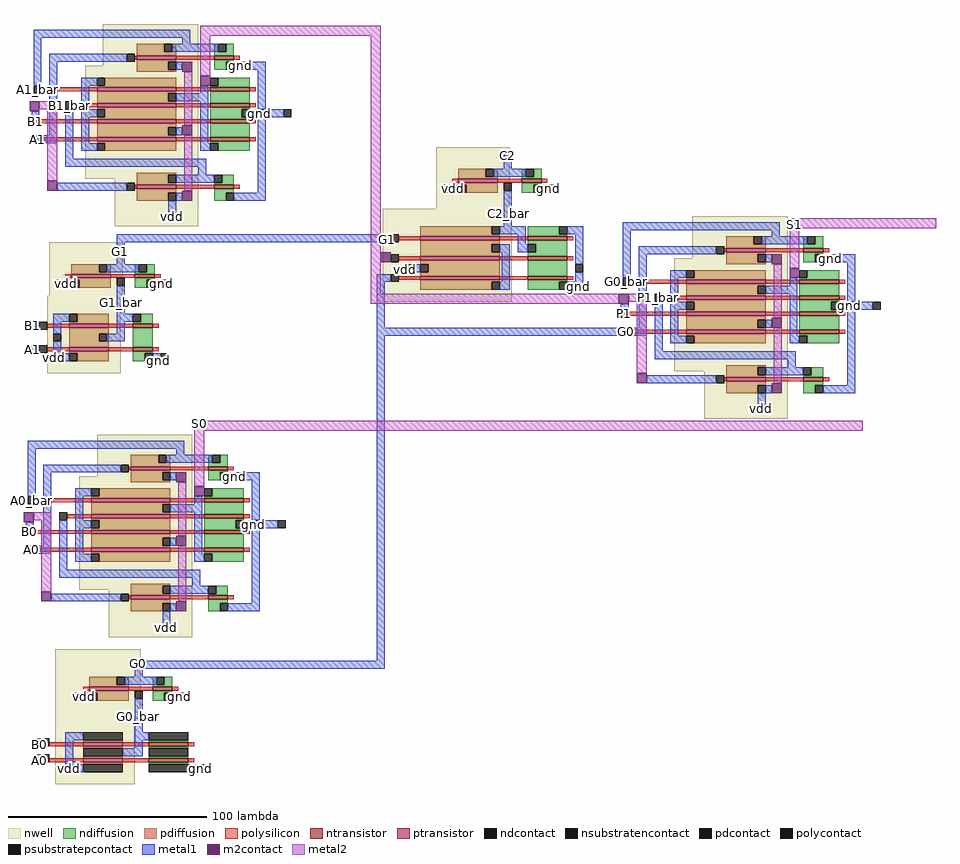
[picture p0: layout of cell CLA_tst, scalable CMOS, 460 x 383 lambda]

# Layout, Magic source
magic
tech scmos
<< nwell >>
rect 26 342 74 363
rect 17 285 74 342
rect 32 261 74 285
rect 194 270 231 301
rect 167 267 231 270
rect -1 226 36 253
rect -2 223 36 226
rect 167 223 232 267
rect 323 245 371 266
rect -2 187 35 223
rect 314 188 371 245
rect 329 164 371 188
rect 23 135 71 156
rect 14 78 71 135
rect 29 54 71 78
rect 2 13 45 48
rect 2 -20 42 13
<< ntransistor >>
rect 82 345 92 347
rect 80 329 100 331
rect 80 321 100 323
rect 80 313 100 315
rect 80 304 100 306
rect 237 283 247 285
rect 82 280 92 282
rect 240 254 260 256
rect 379 248 389 250
rect 240 244 260 246
rect 42 235 52 237
rect 240 234 260 236
rect 377 232 397 234
rect 377 224 397 226
rect 377 216 397 218
rect 41 210 51 212
rect 377 207 397 209
rect 41 198 51 200
rect 379 183 389 185
rect 79 138 89 140
rect 77 122 97 124
rect 77 114 97 116
rect 77 106 97 108
rect 77 97 97 99
rect 79 73 89 75
rect 51 27 61 29
rect 49 -1 69 1
rect 49 -9 69 -7
<< ptransistor >>
rect 43 345 63 347
rect 23 329 63 331
rect 23 321 63 323
rect 23 313 63 315
rect 23 304 63 306
rect 205 283 225 285
rect 43 280 63 282
rect 186 254 226 256
rect 340 248 360 250
rect 186 244 226 246
rect 10 235 30 237
rect 186 234 226 236
rect 320 232 360 234
rect 320 224 360 226
rect 320 216 360 218
rect 9 210 29 212
rect 320 207 360 209
rect 9 198 29 200
rect 340 183 360 185
rect 40 138 60 140
rect 20 122 60 124
rect 20 114 60 116
rect 20 106 60 108
rect 20 97 60 99
rect 40 73 60 75
rect 19 27 39 29
rect 16 -1 36 1
rect 16 -9 36 -7
<< ndiffusion >>
rect 82 349 84 353
rect 88 349 92 353
rect 82 347 92 349
rect 82 344 92 345
rect 82 340 88 344
rect 84 332 100 336
rect 80 331 100 332
rect 80 323 100 329
rect 80 320 100 321
rect 80 316 96 320
rect 80 315 100 316
rect 80 306 100 313
rect 80 303 100 304
rect 84 299 100 303
rect 86 283 92 287
rect 237 286 239 290
rect 243 286 247 290
rect 237 285 247 286
rect 82 282 92 283
rect 82 278 92 280
rect 237 282 247 283
rect 237 278 243 282
rect 82 274 88 278
rect 240 257 256 261
rect 240 256 260 257
rect 240 252 260 254
rect 244 248 260 252
rect 240 246 260 248
rect 379 252 381 256
rect 385 252 389 256
rect 379 250 389 252
rect 42 238 44 242
rect 48 238 52 242
rect 42 237 52 238
rect 42 234 52 235
rect 42 230 48 234
rect 240 236 260 244
rect 379 247 389 248
rect 379 243 385 247
rect 240 233 260 234
rect 240 229 256 233
rect 381 235 397 239
rect 377 234 397 235
rect 377 226 397 232
rect 45 213 51 217
rect 377 223 397 224
rect 377 219 393 223
rect 377 218 397 219
rect 41 212 51 213
rect 41 200 51 210
rect 377 209 397 216
rect 377 206 397 207
rect 381 202 397 206
rect 41 197 51 198
rect 41 193 47 197
rect 383 186 389 190
rect 379 185 389 186
rect 379 181 389 183
rect 379 177 385 181
rect 79 142 81 146
rect 85 142 89 146
rect 79 140 89 142
rect 79 137 89 138
rect 79 133 85 137
rect 81 125 97 129
rect 77 124 97 125
rect 77 116 97 122
rect 77 113 97 114
rect 77 109 93 113
rect 77 108 97 109
rect 77 99 97 106
rect 77 96 97 97
rect 81 92 97 96
rect 83 76 89 80
rect 79 75 89 76
rect 79 71 89 73
rect 79 67 85 71
rect 51 30 53 34
rect 57 30 61 34
rect 51 29 61 30
rect 51 26 61 27
rect 51 22 57 26
rect 49 1 69 2
rect 49 -2 69 -1
rect 49 -7 69 -6
rect 49 -10 69 -9
<< pdiffusion >>
rect 43 349 57 353
rect 61 349 63 353
rect 43 347 63 349
rect 43 344 63 345
rect 43 340 59 344
rect 43 339 63 340
rect 27 332 63 336
rect 23 331 63 332
rect 23 328 63 329
rect 23 324 59 328
rect 23 323 63 324
rect 23 320 63 321
rect 27 316 63 320
rect 23 315 63 316
rect 23 311 63 313
rect 23 307 59 311
rect 23 306 63 307
rect 23 303 63 304
rect 27 299 63 303
rect 43 287 63 288
rect 43 283 59 287
rect 43 282 63 283
rect 205 286 219 290
rect 223 286 225 290
rect 205 285 225 286
rect 205 282 225 283
rect 43 278 63 280
rect 43 274 59 278
rect 209 278 225 282
rect 186 257 222 261
rect 186 256 226 257
rect 186 252 226 254
rect 186 248 222 252
rect 186 246 226 248
rect 340 252 354 256
rect 358 252 360 256
rect 340 250 360 252
rect 340 247 360 248
rect 186 242 226 244
rect 10 238 24 242
rect 28 238 30 242
rect 10 237 30 238
rect 190 238 226 242
rect 10 234 30 235
rect 14 230 30 234
rect 186 236 226 238
rect 340 243 356 247
rect 340 242 360 243
rect 324 235 360 239
rect 186 233 226 234
rect 186 229 222 233
rect 320 234 360 235
rect 320 231 360 232
rect 320 227 356 231
rect 320 226 360 227
rect 320 223 360 224
rect 324 219 360 223
rect 13 213 29 217
rect 9 212 29 213
rect 320 218 360 219
rect 320 214 360 216
rect 320 210 356 214
rect 9 207 29 210
rect 9 203 24 207
rect 28 203 29 207
rect 9 200 29 203
rect 320 209 360 210
rect 320 206 360 207
rect 324 202 360 206
rect 9 197 29 198
rect 13 193 29 197
rect 340 190 360 191
rect 340 186 356 190
rect 340 185 360 186
rect 340 181 360 183
rect 340 177 356 181
rect 40 142 54 146
rect 58 142 60 146
rect 40 140 60 142
rect 40 137 60 138
rect 40 133 56 137
rect 40 132 60 133
rect 24 125 60 129
rect 20 124 60 125
rect 20 121 60 122
rect 20 117 56 121
rect 20 116 60 117
rect 20 113 60 114
rect 24 109 60 113
rect 20 108 60 109
rect 20 104 60 106
rect 20 100 56 104
rect 20 99 60 100
rect 20 96 60 97
rect 24 92 60 96
rect 40 80 60 81
rect 40 76 56 80
rect 40 75 60 76
rect 40 71 60 73
rect 40 67 56 71
rect 19 30 33 34
rect 37 30 39 34
rect 19 29 39 30
rect 19 26 39 27
rect 23 22 39 26
rect 16 1 36 2
rect 16 -2 36 -1
rect 16 -7 36 -6
rect 16 -10 36 -9
<< ndcontact >>
rect 84 349 88 353
rect 88 340 92 344
rect 80 332 84 336
rect 96 316 100 320
rect 80 299 84 303
rect 82 283 86 287
rect 239 286 243 290
rect 243 278 247 282
rect 88 274 92 278
rect 256 257 260 261
rect 240 248 244 252
rect 381 252 385 256
rect 44 238 48 242
rect 48 230 52 234
rect 385 243 389 247
rect 256 229 260 233
rect 377 235 381 239
rect 41 213 45 217
rect 393 219 397 223
rect 377 202 381 206
rect 47 193 51 197
rect 379 186 383 190
rect 385 177 389 181
rect 81 142 85 146
rect 85 133 89 137
rect 77 125 81 129
rect 93 109 97 113
rect 77 92 81 96
rect 79 76 83 80
rect 85 67 89 71
rect 53 30 57 34
rect 57 22 61 26
rect 49 2 69 6
rect 49 -6 69 -2
rect 49 -14 69 -10
<< pdcontact >>
rect 57 349 61 353
rect 59 340 63 344
rect 23 332 27 336
rect 59 324 63 328
rect 23 316 27 320
rect 117 316 121 320
rect 59 307 63 311
rect 23 299 27 303
rect 59 283 63 287
rect 219 286 223 290
rect 59 274 63 278
rect 205 278 209 282
rect 222 257 226 261
rect 222 248 226 252
rect 354 252 358 256
rect 24 238 28 242
rect 186 238 190 242
rect 10 230 14 234
rect 356 243 360 247
rect 320 235 324 239
rect 222 229 226 233
rect 356 227 360 231
rect 320 219 324 223
rect 9 213 13 217
rect 414 219 418 223
rect 356 210 360 214
rect 24 203 28 207
rect 320 202 324 206
rect 9 193 13 197
rect 356 186 360 190
rect 356 177 360 181
rect 54 142 58 146
rect 56 133 60 137
rect 20 125 24 129
rect 56 117 60 121
rect 20 109 24 113
rect 114 109 118 113
rect 56 100 60 104
rect 20 92 24 96
rect 56 76 60 80
rect 56 67 60 71
rect 33 30 37 34
rect 19 22 23 26
rect 16 2 36 6
rect 16 -6 36 -2
rect 16 -14 36 -10
<< psubstratepcontact >>
rect 104 316 108 320
rect 251 278 255 282
rect 56 230 60 234
rect 264 238 268 242
rect 401 219 405 223
rect 55 193 59 197
rect 101 109 105 113
rect 65 22 69 26
rect 73 -14 77 -10
<< nsubstratencontact >>
rect 197 278 201 282
rect 59 264 63 268
rect 178 238 182 242
rect 2 230 6 234
rect 1 203 5 207
rect 356 167 360 171
rect 56 57 60 61
rect 11 22 15 26
rect 7 -14 11 -10
<< polysilicon >>
rect 42 345 43 347
rect 63 345 82 347
rect 92 345 95 347
rect -5 329 23 331
rect 63 329 80 331
rect 100 329 103 331
rect 11 321 23 323
rect 63 321 80 323
rect 100 321 103 323
rect -6 313 23 315
rect 63 313 80 315
rect 100 313 103 315
rect -5 304 23 306
rect 63 304 80 306
rect 100 304 103 306
rect 202 283 205 285
rect 225 283 237 285
rect 247 283 250 285
rect 42 280 43 282
rect 63 280 82 282
rect 92 280 95 282
rect 175 254 186 256
rect 226 254 240 256
rect 260 254 263 256
rect 339 248 340 250
rect 360 248 379 250
rect 389 248 392 250
rect 175 244 186 246
rect 226 244 240 246
rect 260 244 263 246
rect 7 235 10 237
rect 30 235 42 237
rect 52 235 55 237
rect 175 234 186 236
rect 226 234 240 236
rect 260 234 263 236
rect 292 232 320 234
rect 360 232 377 234
rect 397 232 400 234
rect 308 224 320 226
rect 360 224 377 226
rect 397 224 400 226
rect 291 216 320 218
rect 360 216 377 218
rect 397 216 400 218
rect -2 210 9 212
rect 29 210 41 212
rect 51 210 54 212
rect 292 207 320 209
rect 360 207 377 209
rect 397 207 400 209
rect -2 198 9 200
rect 29 198 41 200
rect 51 198 54 200
rect 339 183 340 185
rect 360 183 379 185
rect 389 183 392 185
rect 39 138 40 140
rect 60 138 79 140
rect 89 138 92 140
rect -8 122 20 124
rect 60 122 77 124
rect 97 122 100 124
rect 8 114 20 116
rect 60 114 77 116
rect 97 114 100 116
rect -9 106 20 108
rect 60 106 77 108
rect 97 106 100 108
rect -8 97 20 99
rect 60 97 77 99
rect 97 97 100 99
rect 39 73 40 75
rect 60 73 79 75
rect 89 73 92 75
rect 16 27 19 29
rect 39 27 51 29
rect 61 27 64 29
rect -1 -1 16 1
rect 36 -1 49 1
rect 69 -1 72 1
rect -1 -9 16 -7
rect 36 -9 49 -7
rect 69 -9 72 -7
<< polycontact >>
rect 38 344 42 348
rect -9 328 -5 332
rect 7 320 11 324
rect -10 312 -6 316
rect -9 303 -5 307
rect 38 279 42 283
rect 228 279 232 283
rect 171 253 175 257
rect 171 243 175 247
rect 335 247 339 251
rect 33 231 37 235
rect 171 233 175 237
rect 288 231 292 235
rect 304 223 308 227
rect -6 209 -2 213
rect 287 215 291 219
rect -6 197 -2 201
rect 288 206 292 210
rect 335 182 339 186
rect 35 137 39 141
rect -12 121 -8 125
rect 4 113 8 117
rect -13 105 -9 109
rect -12 96 -8 100
rect 35 72 39 76
rect 42 23 46 27
rect -5 -1 -1 3
rect -5 -9 -1 -5
<< metal1 >>
rect -9 356 70 360
rect -9 332 -5 356
rect 66 353 70 356
rect 61 349 84 353
rect -1 344 38 348
rect -10 316 -6 319
rect -1 307 3 344
rect 63 340 66 344
rect 92 340 108 344
rect 15 332 23 336
rect -5 303 3 307
rect 7 295 11 320
rect 15 320 19 332
rect 75 328 79 332
rect 63 324 79 328
rect 15 316 23 320
rect 15 303 19 316
rect 63 307 66 311
rect 75 303 79 324
rect 104 320 108 340
rect 100 316 104 320
rect 108 316 117 320
rect 15 299 23 303
rect 75 299 80 303
rect 7 291 78 295
rect 74 287 78 291
rect 63 283 82 287
rect 3 279 38 283
rect 63 274 66 278
rect 104 278 108 316
rect 228 290 232 297
rect 223 286 239 290
rect 201 278 205 282
rect 92 274 108 278
rect 59 268 63 274
rect 228 261 232 279
rect 247 278 251 282
rect 226 257 239 261
rect 260 257 268 261
rect 33 253 171 257
rect 33 242 37 253
rect 235 252 239 257
rect 226 248 231 252
rect 235 248 240 252
rect 28 238 44 242
rect 182 238 186 242
rect 6 230 10 234
rect 33 217 37 231
rect 52 230 56 234
rect 164 233 171 237
rect 227 233 231 248
rect 264 242 268 257
rect 264 233 268 238
rect 1 213 9 217
rect 33 213 41 217
rect -10 209 -6 213
rect 1 207 5 213
rect 33 207 37 213
rect 28 203 37 207
rect 164 210 168 233
rect 226 229 231 233
rect 260 229 268 233
rect 288 259 367 263
rect 288 235 292 259
rect 363 256 367 259
rect 358 252 381 256
rect 296 247 335 251
rect 287 219 291 222
rect 296 210 300 247
rect 360 243 363 247
rect 389 243 405 247
rect 312 235 320 239
rect 164 206 288 210
rect 292 206 300 210
rect -10 197 -6 201
rect 1 197 5 203
rect 1 193 9 197
rect 51 193 55 197
rect -12 149 67 153
rect -12 125 -8 149
rect 63 146 67 149
rect 58 142 81 146
rect -4 137 35 141
rect -13 109 -9 112
rect -4 100 0 137
rect 60 133 63 137
rect 89 133 105 137
rect 12 125 20 129
rect -8 96 0 100
rect 4 88 8 113
rect 12 113 16 125
rect 72 121 76 125
rect 60 117 76 121
rect 12 109 20 113
rect 12 96 16 109
rect 60 100 63 104
rect 72 96 76 117
rect 101 113 105 133
rect 97 109 101 113
rect 105 109 114 113
rect 12 92 20 96
rect 72 92 77 96
rect 4 84 75 88
rect 71 80 75 84
rect 60 76 79 80
rect 0 72 35 76
rect 60 67 63 71
rect 101 71 105 109
rect 89 67 105 71
rect 56 61 60 67
rect 164 42 168 206
rect 304 198 308 223
rect 312 223 316 235
rect 372 231 376 235
rect 360 227 376 231
rect 312 219 320 223
rect 312 206 316 219
rect 360 210 363 214
rect 372 206 376 227
rect 401 223 405 243
rect 397 219 401 223
rect 405 219 414 223
rect 312 202 320 206
rect 372 202 377 206
rect 304 194 375 198
rect 371 190 375 194
rect 360 186 379 190
rect 300 182 335 186
rect 360 177 363 181
rect 401 181 405 219
rect 389 177 405 181
rect 356 171 360 177
rect 42 38 168 42
rect 42 34 46 38
rect 37 30 53 34
rect 15 22 19 26
rect 42 6 46 23
rect 61 22 65 26
rect -7 -1 -5 3
rect 7 2 16 6
rect 42 2 49 6
rect -7 -9 -5 -5
rect 7 -10 11 2
rect 42 -2 46 2
rect 36 -6 46 -2
rect 11 -14 16 -10
rect 69 -14 73 -10
<< m2contact >>
rect -11 319 -6 324
rect 66 339 71 344
rect 75 332 80 337
rect 66 307 71 312
rect -2 279 3 284
rect 66 274 71 279
rect 166 243 171 248
rect 286 222 291 227
rect 363 242 368 247
rect 372 235 377 240
rect -14 112 -9 117
rect 63 132 68 137
rect 72 125 77 130
rect 63 100 68 105
rect -5 72 0 77
rect 63 67 68 72
rect 363 210 368 215
rect 295 182 300 187
rect 363 177 368 182
<< metal2 >>
rect 75 357 166 362
rect -6 320 3 324
rect -2 284 3 320
rect 67 312 71 339
rect 75 337 80 357
rect 67 279 71 307
rect 161 227 166 357
rect 372 260 446 265
rect 161 222 286 227
rect 291 223 300 227
rect 295 187 300 223
rect 364 215 368 242
rect 372 240 377 260
rect 364 182 368 210
rect 72 158 409 163
rect -9 113 0 117
rect -5 77 0 113
rect 64 105 68 132
rect 72 130 77 158
rect 64 72 68 100
<< labels >>
rlabel nsubstratencontact 59 264 63 268 1 vdd
rlabel metal1 95 340 96 344 7 gnd
rlabel metal1 102 316 108 320 7 gnd
rlabel polycontact -9 303 -5 307 3 A1
rlabel polycontact -10 312 -6 316 3 B1
rlabel polycontact 7 320 11 324 1 B1_bar
rlabel polycontact -9 328 -5 332 3 A1_bar
rlabel metal1 178 238 179 241 3 vdd
rlabel metal1 169 233 170 236 3 G0
rlabel m2contact 169 243 170 246 3 P1
rlabel metal1 169 253 170 256 3 G1
rlabel metal1 202 278 203 282 7 vdd
rlabel metal1 250 278 251 282 7 gnd
rlabel metal1 230 265 231 270 7 C2_bar
rlabel metal1 229 296 231 297 5 C2
rlabel metal1 265 229 266 232 8 gnd
rlabel nsubstratencontact 356 167 360 171 1 vdd
rlabel metal1 392 243 393 247 7 gnd
rlabel metal1 399 219 405 223 7 gnd
rlabel metal1 99 109 105 113 7 gnd
rlabel nsubstratencontact 56 57 60 61 1 vdd
rlabel polycontact -12 96 -8 100 3 A0
rlabel polycontact -13 105 -9 109 3 B0
rlabel polycontact -12 121 -8 125 3 A0_bar
rlabel metal1 92 133 93 137 7 gnd
rlabel metal2 73 161 76 162 1 S0
rlabel metal2 373 261 376 263 1 S1
rlabel polycontact 287 215 291 219 1 P1
rlabel polycontact 288 206 292 210 1 G0
rlabel polycontact 304 223 308 227 1 P1_bar
rlabel polycontact 288 231 292 235 1 G0_bar
rlabel metal1 34 248 36 249 1 G1
rlabel metal1 35 220 36 225 1 G1_bar
rlabel metal1 -10 210 -9 212 3 B1
rlabel metal1 -10 198 -9 200 3 A1
rlabel metal1 53 193 55 194 8 gnd
rlabel metal1 1 193 2 197 3 vdd
rlabel metal1 7 230 8 234 7 vdd
rlabel metal1 55 230 56 234 7 gnd
rlabel psubstratepcontact 73 -14 77 -10 7 gnd
rlabel nsubstratencontact 7 -14 11 -10 7 vdd
rlabel metal1 -7 -9 -5 -7 3 A0
rlabel metal1 -7 -1 -5 1 3 B0
rlabel metal1 42 13 46 15 1 G0_bar
rlabel metal1 64 22 65 26 7 gnd
rlabel metal1 16 22 17 26 7 vdd
rlabel metal1 43 40 45 41 1 G0
<< end >>
